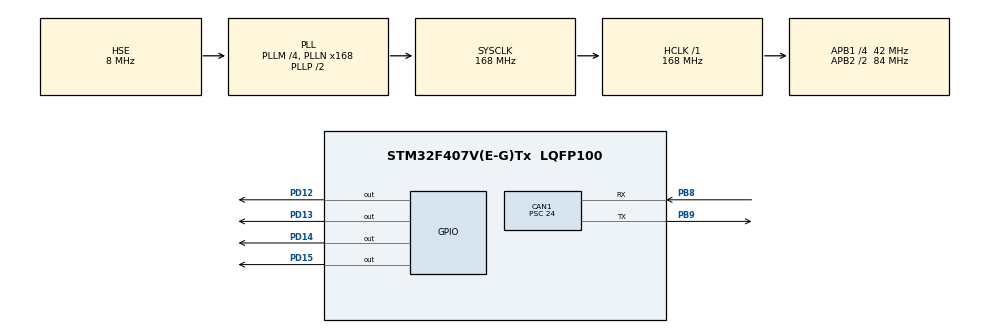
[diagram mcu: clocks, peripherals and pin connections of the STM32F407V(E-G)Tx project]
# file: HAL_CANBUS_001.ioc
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CAN1.BS1=CAN_BS1_3TQ
CAN1.BS2=CAN_BS2_3TQ
CAN1.CalculateBaudRate=250000
CAN1.CalculateTimeBit=4000
CAN1.CalculateTimeQuantum=571.4285714285714
CAN1.Prescaler=24
CAN1.SJW=CAN_SJW_2TQ
Mcu.Family=STM32F4
Mcu.Name=STM32F407V(E-G)Tx
Mcu.Package=LQFP100
NVIC.CAN1_RX0_IRQn=true\:0\:0\:false\:false\:true\:true\:true\:true
NVIC.PriorityGroup=NVIC_PRIORITYGROUP_4
PA13.Mode=Serial_Wire
PA13.Signal=SYS_JTMS-SWDIO
PA14.Mode=Serial_Wire
PA14.Signal=SYS_JTCK-SWCLK
PB8.Mode=CAN_Activate
PB8.Signal=CAN1_RX
PB9.Mode=CAN_Activate
PB9.Signal=CAN1_TX
PD12.Signal=GPIO_Output
PD13.Signal=GPIO_Output
PD14.Signal=GPIO_Output
PD15.Signal=GPIO_Output
PH0-OSC_IN.Mode=HSE-External-Oscillator
PH0-OSC_IN.Signal=RCC_OSC_IN
PH1-OSC_OUT.Mode=HSE-External-Oscillator
PH1-OSC_OUT.Signal=RCC_OSC_OUT
ProjectManager.HeapSize=0x200
ProjectManager.StackSize=0x400
ProjectManager.TargetToolchain=STM32CubeIDE
RCC.48MHZClocksFreq_Value=84000000
RCC.AHBFreq_Value=168000000
RCC.APB1CLKDivider=RCC_HCLK_DIV4
RCC.APB1Freq_Value=42000000
RCC.APB1TimFreq_Value=84000000
RCC.APB2CLKDivider=RCC_HCLK_DIV2
RCC.APB2Freq_Value=84000000
RCC.APB2TimFreq_Value=168000000
RCC.CortexFreq_Value=168000000
RCC.HCLKFreq_Value=168000000
RCC.HSE_VALUE=8000000
RCC.HSI_VALUE=16000000
RCC.LSE_VALUE=32768
RCC.PLLM=4
RCC.PLLN=168
RCC.PLLSourceVirtual=RCC_PLLSOURCE_HSE
RCC.SYSCLKFreq_VALUE=168000000
RCC.SYSCLKSource=RCC_SYSCLKSOURCE_PLLCLK
RCC.VCOOutputFreq_Value=336000000
board=custom

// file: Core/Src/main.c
/* USER CODE BEGIN Header */
/**
  ******************************************************************************
  * @file           : main.c
  * @brief          : Main program body
  ******************************************************************************
  * @attention
  *
  * Copyright (c) 2023 STMicroelectronics.
  * All rights reserved.
  *
  * This software is licensed under terms that can be found in the LICENSE file
  * in the root directory of this software component.
  * If no LICENSE file comes with this software, it is provided AS-IS.
  *
  ******************************************************************************
  */
/* USER CODE END Header */
#include "main.h"

CAN_HandleTypeDef hcan1;

void SystemClock_Config(void);
static void MX_GPIO_Init(void);
static void MX_CAN1_Init(void);

/* USER CODE BEGIN 0 */

CAN_TxHeaderTypeDef TxTransmitter; // Göndericinin mesaj parametrelerini içeren structure.

uint8_t TxData[8];
uint32_t TxMailbox;

/* USER CODE END 0 */

int main(void)
{

  /* MCU Configuration--------------------------------------------------------*/

  /* Reset of all peripherals, Initializes the Flash interface and the Systick. */
  HAL_Init();

  /* Configure the system clock */
  SystemClock_Config();

  /* Initialize all configured peripherals */
  MX_GPIO_Init();
  MX_CAN1_Init();
  /* USER CODE BEGIN 2 */

  HAL_CAN_Start(&hcan1);
  HAL_CAN_ActivateNotification(&hcan1, TxMailbox);

  TxTransmitter.DLC = 8;
  TxTransmitter.ExtId;
  TxTransmitter.IDE = CAN_ID_STD;
  TxTransmitter.RTR;
  TxTransmitter.StdId = 0x37;
  TxTransmitter.TransmitGlobalTime;

  /* USER CODE END 2 */

  /* Infinite loop */
  while (1)
  {

    /* USER CODE BEGIN 3 */
	  TxData[0] = 12;
	  TxData[1] = 23;
	  TxData[2] = 34;
	  TxData[3] = 45;
	  TxData[4] = 56;
	  TxData[5] = 67;
	  TxData[6] = 78;
	  TxData[7] = 89;

	  /*
	   * Bu mesaj CAN veriyoluna gönderilir ve artık bu veriyolundaki
	   * tüm CAN cihazları bir nevi bu mesajı alacaktır. Bir nevi dedim
	   * çünkü mesajın alınıp alınmayacağı her cihazın Filtre Yapılandırmasına bağlıdır.
	   * Yani her cihazın CAN-BUS haberleşmesinde bir filtreye ihtiyacı vardır.
	   *
	   * Mesaj filtreye göre yeterli koşulları sağlarsa o zaman geçmesine izin verilecektir.
	   *
	   */

	  if(HAL_CAN_AddTxMessage(&hcan1, &TxTransmitter, TxData, &TxMailbox) != HAL_OK)
	  {
		  Error_Handler();
	  }

  }
  /* USER CODE END 3 */
}

void SystemClock_Config(void)
{
  RCC_OscInitTypeDef RCC_OscInitStruct = {0};
  RCC_ClkInitTypeDef RCC_ClkInitStruct = {0};

  /** Configure the main internal regulator output voltage
  */
  __HAL_RCC_PWR_CLK_ENABLE();
  __HAL_PWR_VOLTAGESCALING_CONFIG(PWR_REGULATOR_VOLTAGE_SCALE1);

  /** Initializes the RCC Oscillators according to the specified parameters
  * in the RCC_OscInitTypeDef structure.
  */
  RCC_OscInitStruct.OscillatorType = RCC_OSCILLATORTYPE_HSE;
  RCC_OscInitStruct.HSEState = RCC_HSE_ON;
  RCC_OscInitStruct.PLL.PLLState = RCC_PLL_ON;
  RCC_OscInitStruct.PLL.PLLSource = RCC_PLLSOURCE_HSE;
  RCC_OscInitStruct.PLL.PLLM = 4;
  RCC_OscInitStruct.PLL.PLLN = 168;
  RCC_OscInitStruct.PLL.PLLP = RCC_PLLP_DIV2;
  RCC_OscInitStruct.PLL.PLLQ = 4;
  if (HAL_RCC_OscConfig(&RCC_OscInitStruct) != HAL_OK)
  {
    Error_Handler();
  }

  /** Initializes the CPU, AHB and APB buses clocks
  */
  RCC_ClkInitStruct.ClockType = RCC_CLOCKTYPE_HCLK|RCC_CLOCKTYPE_SYSCLK
                              |RCC_CLOCKTYPE_PCLK1|RCC_CLOCKTYPE_PCLK2;
  RCC_ClkInitStruct.SYSCLKSource = RCC_SYSCLKSOURCE_PLLCLK;
  RCC_ClkInitStruct.AHBCLKDivider = RCC_SYSCLK_DIV1;
  RCC_ClkInitStruct.APB1CLKDivider = RCC_HCLK_DIV4;
  RCC_ClkInitStruct.APB2CLKDivider = RCC_HCLK_DIV2;

  if (HAL_RCC_ClockConfig(&RCC_ClkInitStruct, FLASH_LATENCY_5) != HAL_OK)
  {
    Error_Handler();
  }
}

static void MX_CAN1_Init(void)
{

  hcan1.Instance = CAN1;
  hcan1.Init.Prescaler = 24;
  hcan1.Init.Mode = CAN_MODE_NORMAL;
  hcan1.Init.SyncJumpWidth = CAN_SJW_2TQ;
  hcan1.Init.TimeSeg1 = CAN_BS1_3TQ;
  hcan1.Init.TimeSeg2 = CAN_BS2_3TQ;
  hcan1.Init.TimeTriggeredMode = DISABLE;
  hcan1.Init.AutoBusOff = DISABLE;
  hcan1.Init.AutoWakeUp = DISABLE;
  hcan1.Init.AutoRetransmission = DISABLE;
  hcan1.Init.ReceiveFifoLocked = DISABLE;
  hcan1.Init.TransmitFifoPriority = DISABLE;
  if (HAL_CAN_Init(&hcan1) != HAL_OK)
  {
    Error_Handler();
  }
  /* USER CODE BEGIN CAN1_Init 2 */

  CAN_FilterTypeDef canfilterconfig;

  canfilterconfig.FilterActivation = CAN_FILTER_ENABLE;
  canfilterconfig.FilterBank = 18;  // which filter bank to use from the assigned ones // Kaçıncı filtrenin kullanılacağını belirtir.
  canfilterconfig.FilterFIFOAssignment = CAN_FILTER_FIFO0;
  canfilterconfig.FilterIdHigh = 0x446<<5;
  canfilterconfig.FilterIdLow = 0;
  canfilterconfig.FilterMaskIdHigh = 0x446<<5;
  canfilterconfig.FilterMaskIdLow = 0x0000;
  canfilterconfig.FilterMode = CAN_FILTERMODE_IDMASK;
  canfilterconfig.FilterScale = CAN_FILTERSCALE_32BIT;
  canfilterconfig.SlaveStartFilterBank = 20;  // how many filters to assign to the CAN1 (master can) // Kaç adet filtrenin CAN1 çevre birimine atanacağı bilgisini içerir.

  HAL_CAN_ConfigFilter(&hcan1, &canfilterconfig);

  /* USER CODE END CAN1_Init 2 */

}

static void MX_GPIO_Init(void)
{
  GPIO_InitTypeDef GPIO_InitStruct = {0};

  /* GPIO Ports Clock Enable */
  __HAL_RCC_GPIOH_CLK_ENABLE();
  __HAL_RCC_GPIOD_CLK_ENABLE();
  __HAL_RCC_GPIOA_CLK_ENABLE();
  __HAL_RCC_GPIOB_CLK_ENABLE();

  /*Configure GPIO pin Output Level */
  HAL_GPIO_WritePin(GPIOD, GPIO_PIN_12|GPIO_PIN_13|GPIO_PIN_14|GPIO_PIN_15, GPIO_PIN_RESET);

  /*Configure GPIO pins : PD12 PD13 PD14 PD15 */
  GPIO_InitStruct.Pin = GPIO_PIN_12|GPIO_PIN_13|GPIO_PIN_14|GPIO_PIN_15;
  GPIO_InitStruct.Mode = GPIO_MODE_OUTPUT_PP;
  GPIO_InitStruct.Pull = GPIO_NOPULL;
  GPIO_InitStruct.Speed = GPIO_SPEED_FREQ_LOW;
  HAL_GPIO_Init(GPIOD, &GPIO_InitStruct);

}

void Error_Handler(void)
{
  __disable_irq();
  while (1)
  {
  }
}
